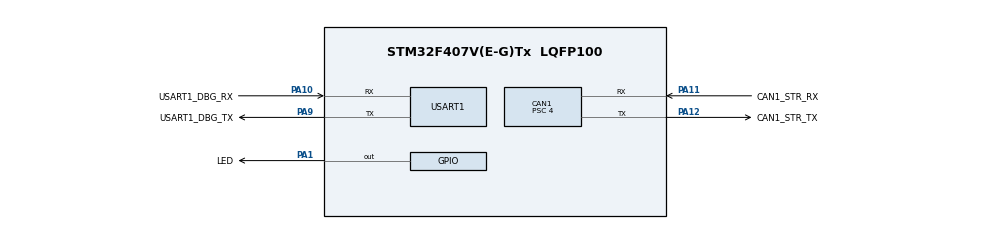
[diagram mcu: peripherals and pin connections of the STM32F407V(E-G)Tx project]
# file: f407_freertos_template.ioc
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CAN1.ABOM=ENABLE
CAN1.BS1=CAN_BS1_13TQ
CAN1.BS2=CAN_BS2_2TQ
CAN1.CalculateBaudRate=500000
CAN1.CalculateTimeBit=2000
CAN1.CalculateTimeQuantum=125.0
CAN1.NART=DISABLE
CAN1.Prescaler=4
CAN1.TXFP=ENABLE
Dma.Request0=USART1_RX
Dma.Request1=USART1_TX
Dma.USART1_RX.0.Direction=DMA_PERIPH_TO_MEMORY
Dma.USART1_RX.0.FIFOMode=DMA_FIFOMODE_DISABLE
Dma.USART1_RX.0.Instance=DMA2_Stream2
Dma.USART1_RX.0.MemDataAlignment=DMA_MDATAALIGN_BYTE
Dma.USART1_RX.0.MemInc=DMA_MINC_ENABLE
Dma.USART1_RX.0.Mode=DMA_NORMAL
Dma.USART1_RX.0.PeriphDataAlignment=DMA_PDATAALIGN_BYTE
Dma.USART1_RX.0.PeriphInc=DMA_PINC_DISABLE
Dma.USART1_RX.0.Priority=DMA_PRIORITY_LOW
Dma.USART1_TX.1.Direction=DMA_MEMORY_TO_PERIPH
Dma.USART1_TX.1.FIFOMode=DMA_FIFOMODE_DISABLE
Dma.USART1_TX.1.Instance=DMA2_Stream7
Dma.USART1_TX.1.MemDataAlignment=DMA_MDATAALIGN_BYTE
Dma.USART1_TX.1.MemInc=DMA_MINC_ENABLE
Dma.USART1_TX.1.Mode=DMA_NORMAL
Dma.USART1_TX.1.PeriphDataAlignment=DMA_PDATAALIGN_BYTE
Dma.USART1_TX.1.PeriphInc=DMA_PINC_DISABLE
Dma.USART1_TX.1.Priority=DMA_PRIORITY_LOW
FREERTOS.BinarySemaphores01=xSharedDataMutex,Dynamic,NULL,;xCanMutex,Dynamic,NULL,
FREERTOS.HEAP_NUMBER=3
FREERTOS.INCLUDE_uxTaskGetStackHighWaterMark=1
FREERTOS.Queues01=xCAN1RxQueue,10,CanMsg,0,Dynamic,NULL,NULL
FREERTOS.Tasks01=MainTask,0,256,StartMainTask,Default,pSharedInterface,Dynamic,NULL,NULL;CAN1RxTask,0,256,StartCAN1RxTask,Default,pSharedInterface,Dynamic,NULL,NULL
FREERTOS.configMAX_TASK_NAME_LEN=32
FREERTOS.configMINIMAL_STACK_SIZE=256
FREERTOS.configUSE_NEWLIB_REENTRANT=1
Mcu.Family=STM32F4
Mcu.Name=STM32F407V(E-G)Tx
Mcu.Package=LQFP100
NVIC.CAN1_RX0_IRQn=true\:5\:0\:false\:false\:true\:true\:true\:true\:true
NVIC.CAN1_SCE_IRQn=true\:5\:0\:false\:false\:true\:true\:true\:true\:true
NVIC.DMA2_Stream2_IRQn=true\:5\:0\:false\:false\:true\:true\:false\:true\:true
NVIC.DMA2_Stream7_IRQn=true\:5\:0\:false\:false\:true\:true\:false\:true\:true
NVIC.PriorityGroup=NVIC_PRIORITYGROUP_4
NVIC.TIM5_IRQn=true\:15\:0\:false\:false\:true\:false\:false\:true\:true
NVIC.TimeBase=TIM5_IRQn
NVIC.TimeBaseIP=TIM5
NVIC.USART1_IRQn=true\:5\:0\:false\:false\:true\:true\:true\:true\:true
PA1.GPIO_Label=LED
PA1.Signal=GPIO_Output
PA10.GPIO_Label=USART1_DBG_RX
PA10.Mode=Asynchronous
PA10.Signal=USART1_RX
PA11.GPIO_Label=CAN1_STR_RX
PA11.Mode=CAN_Activate
PA11.Signal=CAN1_RX
PA12.GPIO_Label=CAN1_STR_TX
PA12.Mode=CAN_Activate
PA12.Signal=CAN1_TX
PA13.Mode=Serial_Wire
PA13.Signal=SYS_JTMS-SWDIO
PA14.Mode=Serial_Wire
PA14.Signal=SYS_JTCK-SWCLK
PA9.GPIO_Label=USART1_DBG_TX
PA9.Mode=Asynchronous
PA9.Signal=USART1_TX
PH0-OSC_IN.Mode=HSE-External-Oscillator
PH0-OSC_IN.Signal=RCC_OSC_IN
PH1-OSC_OUT.Mode=HSE-External-Oscillator
PH1-OSC_OUT.Signal=RCC_OSC_OUT
ProjectManager.HeapSize=0x200
ProjectManager.StackSize=0x400
ProjectManager.TargetToolchain=STM32CubeIDE
RCC.48MHZClocksFreq_Value=64000000
RCC.AHBFreq_Value=128000000
RCC.APB1CLKDivider=RCC_HCLK_DIV4
RCC.APB1Freq_Value=32000000
RCC.APB1TimFreq_Value=64000000
RCC.APB2CLKDivider=RCC_HCLK_DIV2
RCC.APB2Freq_Value=64000000
RCC.APB2TimFreq_Value=128000000
RCC.CortexFreq_Value=128000000
RCC.HCLKFreq_Value=128000000
RCC.HSE_VALUE=8000000
RCC.HSI_VALUE=16000000
RCC.LSE_VALUE=32768
RCC.PLLM=4
RCC.PLLN=128
RCC.PLLSourceVirtual=RCC_PLLSOURCE_HSE
RCC.SYSCLKFreq_VALUE=128000000
RCC.SYSCLKSource=RCC_SYSCLKSOURCE_PLLCLK
RCC.VCOOutputFreq_Value=256000000
TIM1.Period=999
TIM1.Prescaler=128-1
USART1.VirtualMode=VM_ASYNC
VP_FREERTOS_VS_CMSIS_V1.Mode=CMSIS_V1
VP_SYS_VS_tim5.Mode=TIM5
VP_TIM1_VS_ClockSourceINT.Mode=Internal
board=custom

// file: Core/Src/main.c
/* USER CODE BEGIN Header */
/**
  ******************************************************************************
  * @file           : main.c
  * @brief          : Main program body
  ******************************************************************************
  * @attention
  *
  * Copyright (c) 2024 STMicroelectronics.
  * All rights reserved.
  *
  * This software is licensed under terms that can be found in the LICENSE file
  * in the root directory of this software component.
  * If no LICENSE file comes with this software, it is provided AS-IS.
  *
  ******************************************************************************
  */
/* USER CODE END Header */
#include "main.h"
#include "cmsis_os.h"
#include "can.h"
#include "dma.h"
#include "tim.h"
#include "usart.h"
#include "gpio.h"

/* USER CODE BEGIN PD */
__attribute__((section(".myvars.COMPILATION_TIMESTAMP"))) char COMPILATION_TIMESTAMP[] = __TIMESTAMP__;
__attribute__((section(".mycrc.COMPILATION_CRC"))) uint32_t gCrcDword = 0xFFFFFFFF; // ToDo: dirty hack to force erase of MYCRC page on CubeIDE Debug

static uint16_t pCrcBuf[FLASH_TIMESTAMP_PAGE] __attribute__ ((aligned (1))); // ToDo: Make dynamic
/* USER CODE END PD */

/* USER CODE BEGIN PV */
SharedData sharedData;
/* USER CODE END PV */

void SystemClock_Config(void);
void MX_FREERTOS_Init(void);

int main(void)
{

  /* USER CODE BEGIN 1 */
//    __disable_irq();
    SCB->VTOR = FLASH_FW_START_ADDR;
    __set_MSP(*((volatile uint32_t*) FLASH_FW_START_ADDR));
    __set_PSP(*((volatile uint32_t*) FLASH_FW_START_ADDR));
//    __enable_irq();
  /* USER CODE END 1 */

  /* MCU Configuration--------------------------------------------------------*/

  /* Reset of all peripherals, Initializes the Flash interface and the Systick. */
  HAL_Init();

  /* Configure the system clock */
  SystemClock_Config();

  /* Initialize all configured peripherals */
  MX_GPIO_Init();
  MX_DMA_Init();
  MX_CAN1_Init();
  MX_USART1_UART_Init();
  MX_TIM1_Init();
  /* USER CODE BEGIN 2 */
  // Check CRC
  uint32_t crcDword = 0;
  if (Flash_Read((FLASH_CRC_START_ADDR - FLASH_USER_START_ADDR), &crcDword) == FLASH_OK && crcDword == 0xFFFFFFFF)
  {
      // Compute our own CRC
      if (Flash_ProcessAppCrc(FLASH_TIMESTAMP_PAGE, pCrcBuf, FLASH_COMPUTE_CRC) == FLASH_OK)
      {
          // Save CRC to last page
          if (Flash_UpdateChunk((uint8_t*) pCrcBuf, sizeof(pCrcBuf), FLASH_CRC_PAGE) != FLASH_OK)
          {
              NVIC_SystemReset();
          }
      }
  }

//  while(1)
//  {
//      HAL_GPIO_TogglePin(LED_GPIO_Port, LED_Pin);
//      HAL_Delay(500);
//  }
  /* USER CODE END 2 */

  /* Call init function for freertos objects (in cmsis_os2.c) */
  MX_FREERTOS_Init();

  /* Start scheduler */
  osKernelStart();

  /* We should never get here as control is now taken by the scheduler */

  /* Infinite loop */
  while (1)
  {

  }
}

void SystemClock_Config(void)
{
  LL_FLASH_SetLatency(LL_FLASH_LATENCY_4);
  while(LL_FLASH_GetLatency()!= LL_FLASH_LATENCY_4)
  {
  }
  LL_PWR_SetRegulVoltageScaling(LL_PWR_REGU_VOLTAGE_SCALE1);
  LL_RCC_HSE_Enable();

   /* Wait till HSE is ready */
  while(LL_RCC_HSE_IsReady() != 1)
  {

  }
  LL_RCC_PLL_ConfigDomain_SYS(LL_RCC_PLLSOURCE_HSE, LL_RCC_PLLM_DIV_4, 128, LL_RCC_PLLP_DIV_2);
  LL_RCC_PLL_Enable();

   /* Wait till PLL is ready */
  while(LL_RCC_PLL_IsReady() != 1)
  {

  }
  while (LL_PWR_IsActiveFlag_VOS() == 0)
  {
  }
  LL_RCC_SetAHBPrescaler(LL_RCC_SYSCLK_DIV_1);
  LL_RCC_SetAPB1Prescaler(LL_RCC_APB1_DIV_4);
  LL_RCC_SetAPB2Prescaler(LL_RCC_APB2_DIV_2);
  LL_RCC_SetSysClkSource(LL_RCC_SYS_CLKSOURCE_PLL);

   /* Wait till System clock is ready */
  while(LL_RCC_GetSysClkSource() != LL_RCC_SYS_CLKSOURCE_STATUS_PLL)
  {

  }
  LL_SetSystemCoreClock(128000000);

   /* Update the time base */
  if (HAL_InitTick (TICK_INT_PRIORITY) != HAL_OK)
  {
    Error_Handler();
  }
}

void HAL_TIM_PeriodElapsedCallback(TIM_HandleTypeDef *htim)
{
  if (htim->Instance == TIM5) {
    HAL_IncTick();
  }
}

void Error_Handler(void)
{
  __disable_irq();
  while (1)
  {
  }
}

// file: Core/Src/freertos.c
/* USER CODE BEGIN Header */
/**
 ******************************************************************************
 * File Name          : freertos.c
 * Description        : Code for freertos applications
 ******************************************************************************
 * @attention
 *
 * Copyright (c) 2024 STMicroelectronics.
 * All rights reserved.
 *
 * This software is licensed under terms that can be found in the LICENSE file
 * in the root directory of this software component.
 * If no LICENSE file comes with this software, it is provided AS-IS.
 *
 ******************************************************************************
 */
/* USER CODE END Header */

#include "FreeRTOS.h"
#include "task.h"
#include "main.h"
#include "cmsis_os.h"

/* USER CODE BEGIN Includes */
#include "can.h"
#include "usart.h"
#include "tim.h"
/* USER CODE END Includes */

/* USER CODE BEGIN PTD */

// Task delays
#define FREERTOS_MAIN_TASK_DELAY_MS         100
#define FREERTOS_CAN_RX_TASK_DELAY_MS       10
/* USER CODE END PTD */

osThreadId MainTaskHandle;
osThreadId CAN1RxTaskHandle;
osMessageQId xCAN1RxQueueHandle;
osSemaphoreId xSharedDataMutexHandle;
osSemaphoreId xCanMutexHandle;

/* USER CODE BEGIN FunctionPrototypes */
uint32_t Filter(uint32_t *sum, uint32_t *buffer, uint32_t value, int index,int filterSize);
uint32_t GetVector(uint32_t joystickPositionY, uint32_t joystickPositionX, float yCoef, float xCoef);
int Clamp(int value, int min, int max);
int Map(int x, int inMin, int inMax, int outMin, int outMax);
unsigned int Root(uint32_t value);
/* USER CODE END FunctionPrototypes */

void StartMainTask(void const * argument);
void StartCAN1RxTask(void const * argument);

void MX_FREERTOS_Init(void); /* (MISRA C 2004 rule 8.1) */

/* GetIdleTaskMemory prototype (linked to static allocation support) */
void vApplicationGetIdleTaskMemory( StaticTask_t **ppxIdleTaskTCBBuffer, StackType_t **ppxIdleTaskStackBuffer, uint32_t *pulIdleTaskStackSize );

/* USER CODE BEGIN GET_IDLE_TASK_MEMORY */
static StaticTask_t xIdleTaskTCBBuffer;
static StackType_t xIdleStack[configMINIMAL_STACK_SIZE];

void vApplicationGetIdleTaskMemory(StaticTask_t **ppxIdleTaskTCBBuffer, StackType_t **ppxIdleTaskStackBuffer, uint32_t *pulIdleTaskStackSize)
{
    *ppxIdleTaskTCBBuffer = &xIdleTaskTCBBuffer;
    *ppxIdleTaskStackBuffer = &xIdleStack[0];
    *pulIdleTaskStackSize = configMINIMAL_STACK_SIZE;
    /* place for user code */
}
/* USER CODE END GET_IDLE_TASK_MEMORY */

void MX_FREERTOS_Init(void) {

  /* Create the semaphores(s) */
  /* definition and creation of xSharedDataMutex */
  osSemaphoreDef(xSharedDataMutex);
  xSharedDataMutexHandle = osSemaphoreCreate(osSemaphore(xSharedDataMutex), 1);

  /* definition and creation of xCanMutex */
  osSemaphoreDef(xCanMutex);
  xCanMutexHandle = osSemaphoreCreate(osSemaphore(xCanMutex), 1);

  /* Create the queue(s) */
  /* definition and creation of xCAN1RxQueue */
  osMessageQDef(xCAN1RxQueue, 10, CanMsg);
  xCAN1RxQueueHandle = osMessageCreate(osMessageQ(xCAN1RxQueue), NULL);

  /* USER CODE BEGIN RTOS_QUEUES */
    /* add queues, ... */
    SharedInterface *pSharedInterface = (SharedInterface*) calloc(1, sizeof(SharedInterface));
    // ToDo: add separate instances
    pSharedInterface->pCanMutex   = &xCanMutexHandle;
    pSharedInterface->pCanRxQueue = &xCAN1RxQueueHandle;
    pSharedInterface->pDataMutex = &xSharedDataMutexHandle;
    pSharedInterface->pData = &sharedData;
  /* USER CODE END RTOS_QUEUES */

  /* Create the thread(s) */
  /* definition and creation of MainTask */
  osThreadDef(MainTask, StartMainTask, osPriorityNormal, 0, 256);
  MainTaskHandle = osThreadCreate(osThread(MainTask), (void*) pSharedInterface);

  /* definition and creation of CAN1RxTask */
  osThreadDef(CAN1RxTask, StartCAN1RxTask, osPriorityNormal, 0, 256);
  CAN1RxTaskHandle = osThreadCreate(osThread(CAN1RxTask), (void*) pSharedInterface);

}

void StartMainTask(void const * argument)
{
  /* USER CODE BEGIN StartMainTask */
    if (argument == NULL)
    {
        vTaskDelete(MainTaskHandle);
    }
    SharedInterface *pSharedInterface = (SharedInterface*) argument;
    /* Infinite loop */
    for (;;)
    {
    	HAL_GPIO_TogglePin(LED_GPIO_Port, LED_Pin);
        osDelay(FREERTOS_MAIN_TASK_DELAY_MS);
    }
  /* USER CODE END StartMainTask */
}

void StartCAN1RxTask(void const * argument)
{
  /* USER CODE BEGIN StartCAN1RxTask */
    if (argument == NULL)
    {
        vTaskDelete(CAN1RxTaskHandle);
    }
    SharedInterface *pSharedInterface = (SharedInterface*) argument;

    /* Infinite loop */
    for (;;)
    {
        CanMsg currentMsg = {0,0,{0}};
        if (xQueueReceive(*pSharedInterface->pCanRxQueue, &currentMsg, (TickType_t)0))
        {
            // 1. Handle Cmd
            switch (currentMsg.id)
            {
                case CAN_ID_BUS_CONTROL:
                {
                    if (currentMsg.data[0] == 1)
                    {
                        xSemaphoreGive(*pSharedInterface->pCanMutex);
                    }
                    else if (currentMsg.data[0] == 0)
                    {
                        xSemaphoreTake(*pSharedInterface->pCanMutex, (TickType_t)5000/portTICK_RATE_MS);
                    }
                }
                break;

                case CAN_ID_APP_SWITCH:
                {
                    if (currentMsg.data[0] == CAN_ID_APP_F407_BOARD_CODE && currentMsg.data[1] == CAN_ID_APP_SWITCH_BOOTLOADER)
                    {
                        NVIC_SystemReset();
                    }
                }
                break;
            }
        }
        osDelay(FREERTOS_CAN_RX_TASK_DELAY_MS);
    }
  /* USER CODE END StartCAN1RxTask */
}
